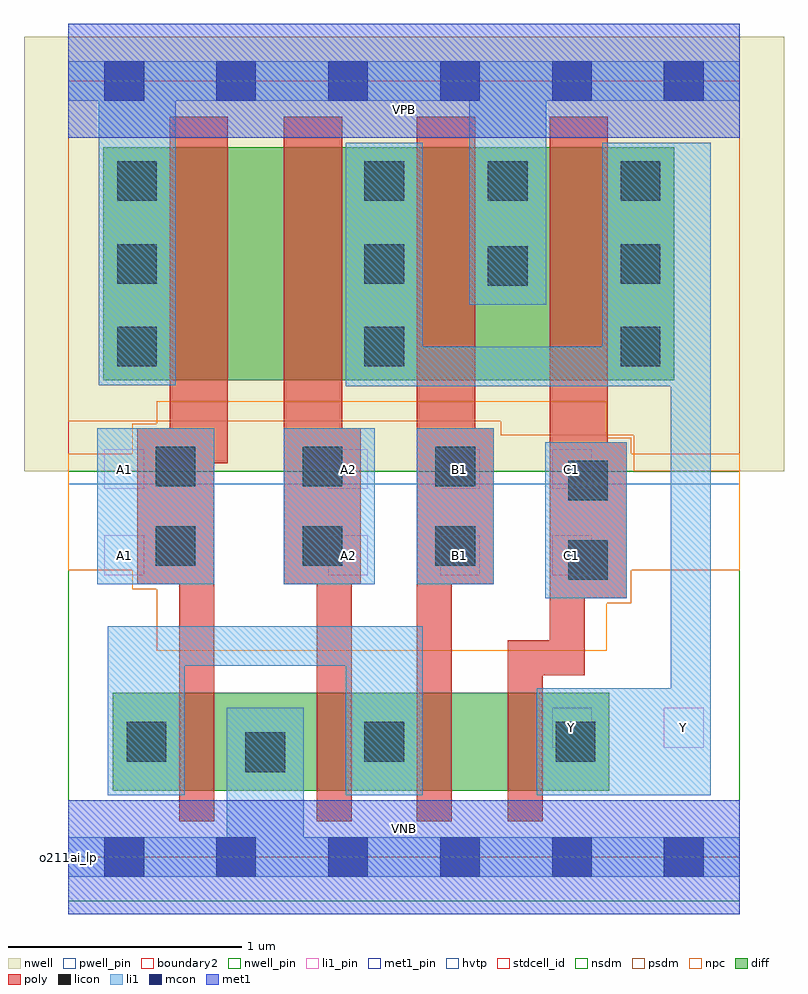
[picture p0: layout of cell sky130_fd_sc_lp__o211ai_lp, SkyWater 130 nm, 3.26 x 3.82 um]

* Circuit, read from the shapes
.subckt sky130_fd_sc_lp__o211ai_lp A1 A2 B1 C1 VGND VNB VPB VPWR Y
XM1 VGND A1 n1 VNB sky130_fd_pr__nfet_01v8 w=0.42 l=0.15
XM2 n1 A2 VGND VNB sky130_fd_pr__nfet_01v8 w=0.42 l=0.15
XM3 n2 B1 n1 VNB sky130_fd_pr__nfet_01v8 w=0.42 l=0.15
XM4 Y C1 n2 VNB sky130_fd_pr__nfet_01v8 w=0.42 l=0.15
XM5 n3 A1 VPWR VPB sky130_fd_pr__pfet_01v8_hvt w=1 l=0.25
XM6 Y A2 n3 VPB sky130_fd_pr__pfet_01v8_hvt w=1 l=0.25
XM7 VPWR B1 Y VPB sky130_fd_pr__pfet_01v8_hvt w=1 l=0.25
XM8 Y C1 VPWR VPB sky130_fd_pr__pfet_01v8_hvt w=1 l=0.25
.ends

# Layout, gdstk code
import gdstk
lib = gdstk.Library(unit=1e-6, precision=1e-09)
def R(c, l, rs):  # rectangles x0, y0, x1, y1
    for r in rs: c.add(gdstk.rectangle(r[:2], r[2:], *l))
def A(c, l, x, y, w, h, nx, ny, dx, dy):  # array of equal rectangles
    R(c, l, [(x+i*dx, y+j*dy, x+i*dx+w, y+j*dy+h) for i in range(nx) for j in range(ny)])
def P(c, l, *ps):  # polygons
    for p in ps: c.add(gdstk.Polygon(p, *l))
nwell_pin = (64, 16)
nwell = (64, 20)
diff = (65, 20)
poly = (66, 20)
licon = (66, 44)
li1_pin = (67, 16)
li1 = (67, 20)
mcon = (67, 44)
met1_pin = (68, 16)
met1 = (68, 20)
hvtp = (78, 44)
stdcell_id = (81, 4)
nsdm = (93, 44)
psdm = (94, 20)
npc = (95, 20)
pwell_pin = (122, 16)
boundary2 = (236, 0)

sky130_fd_sc_lp__o211ai_ = lib.new_cell('sky130_fd_sc_lp__o211ai_lp')
R(sky130_fd_sc_lp__o211ai_, nwell_pin, [(0,3.085,2.88,3.33)])
R(sky130_fd_sc_lp__o211ai_, nwell, [(-0.19,1.655,3.07,3.52)])
R(sky130_fd_sc_lp__o211ai_, diff, [(0.19,0.285,2.32,0.705), (0.15,2.045,2.6,3.045)])
P(sky130_fd_sc_lp__o211ai_, poly, [(0.685,3.175),(0.435,3.175),(0.435,1.84),(0.295,1.84),(0.295,1.17),(0.475,1.17),(0.475,0.155),(0.625,0.155),(0.625,1.69),(0.685,1.69)],
  [(1.255,1.84),(1.175,1.84),(1.175,3.175),(0.925,3.175),(0.925,1.17),(1.065,1.17),(1.065,0.155),(1.215,0.155),(1.215,1.17),(1.255,1.17)],
  [(1.825,1.84),(1.745,1.84),(1.745,3.175),(1.495,3.175),(1.495,0.155),(1.645,0.155),(1.645,1.17),(1.825,1.17)],
  [(2.395,1.78),(2.315,1.78),(2.315,3.175),(2.065,3.175),(2.065,0.93),(1.885,0.93),(1.885,0.155),(2.035,0.155),(2.035,0.78),(2.215,0.78),(2.215,1.11),(2.395,1.11)])
A(sky130_fd_sc_lp__o211ai_, licon, 0.21, 2.105, 0.17, 0.17, 1, 3, 0, 0.355)
A(sky130_fd_sc_lp__o211ai_, licon, 1.27, 2.105, 0.17, 0.17, 1, 3, 0, 0.355)
A(sky130_fd_sc_lp__o211ai_, licon, 2.37, 2.105, 0.17, 0.17, 1, 3, 0, 0.355)
R(sky130_fd_sc_lp__o211ai_, licon, [(0.76,0.365,0.93,0.535), (0.25,0.41,0.42,0.58), (1.27,0.41,1.44,0.58), (2.09,0.41,2.26,0.58), (2.145,1.19,2.315,1.36), (0.375,1.25,0.545,1.42), (1.005,1.25,1.175,1.42), (1.575,1.25,1.745,1.42), (2.145,1.53,2.315,1.7), (0.375,1.59,0.545,1.76), (1.005,1.59,1.175,1.76), (1.575,1.59,1.745,1.76), (1.8,2.45,1.97,2.62), (1.8,2.815,1.97,2.985)])
A(sky130_fd_sc_lp__o211ai_, li1_pin, 1.115, 1.21, 0.17, 0.17, 3, 2, 0.48, 0.37)
R(sky130_fd_sc_lp__o211ai_, li1_pin, [(2.075,0.47,2.245,0.64), (2.555,0.47,2.725,0.64), (0.155,1.21,0.325,1.38), (0.155,1.58,0.325,1.75)])
R(sky130_fd_sc_lp__o211ai_, li1, [(2.045,1.11,2.395,1.78), (0.125,1.17,0.625,1.84), (0.925,1.17,1.315,1.84), (1.495,1.17,1.825,1.84)])
P(sky130_fd_sc_lp__o211ai_, li1, [(0.13,2.025),(0.13,3.245),(0,3.245),(0,3.415),(2.88,3.415),(2.88,3.245),(2.05,3.245),(2.05,2.37),(1.72,2.37),(1.72,3.245),(0.46,3.245),(0.46,2.025)],
  [(0.68,0.085),(0.68,0.64),(1.01,0.64),(1.01,0.085),(2.88,0.085),(2.88,-0.085),(0,-0.085),(0,0.085)],
  [(2.29,2.19),(2.29,3.065),(2.755,3.065),(2.755,0.265),(2.01,0.265),(2.01,0.725),(2.585,0.725),(2.585,2.02),(1.19,2.02),(1.19,3.065),(1.52,3.065),(1.52,2.19)],
  [(1.19,0.265),(1.19,0.82),(0.5,0.82),(0.5,0.265),(0.17,0.265),(0.17,0.99),(1.52,0.99),(1.52,0.265)])
A(sky130_fd_sc_lp__o211ai_, mcon, 0.155, -0.085, 0.17, 0.17, 6, 2, 0.48, 3.33)
R(sky130_fd_sc_lp__o211ai_, met1_pin, [(0,0,2.88,0.245), (0,3.085,2.88,3.33)])
R(sky130_fd_sc_lp__o211ai_, met1, [(0,-0.245,2.88,0.245), (0,3.085,2.88,3.575)])
R(sky130_fd_sc_lp__o211ai_, hvtp, [(0,1.6,2.88,3.33)])
R(sky130_fd_sc_lp__o211ai_, stdcell_id, [(0,0,2.88,3.33)])
R(sky130_fd_sc_lp__o211ai_, nsdm, [(0,-0.19,2.88,1.655)])
P(sky130_fd_sc_lp__o211ai_, psdm, [(2.88,3.52),(0,3.52),(0,1.87),(1.855,1.87),(1.855,1.81),(2.425,1.81),(2.425,1.655),(2.88,1.655)])
P(sky130_fd_sc_lp__o211ai_, npc, [(2.88,1.73),(2.415,1.73),(2.415,1.8),(2.31,1.8),(2.31,1.955),(0.38,1.955),(0.38,1.86),(0.275,1.86),(0.275,1.73),(0,1.73),(0,1.23),(0.275,1.23),(0.275,1.15),(0.38,1.15),(0.38,0.885),(2.31,0.885),(2.31,1.09),(2.415,1.09),(2.415,1.23),(2.88,1.23)])
R(sky130_fd_sc_lp__o211ai_, pwell_pin, [(0,0,2.88,0.245)])
R(sky130_fd_sc_lp__o211ai_, boundary2, [(0,0,2.88,3.33)])
sky130_fd_sc_lp__o211ai_.add(gdstk.Label('VNB', (1.44,0.123), layer=64, texttype=59))
sky130_fd_sc_lp__o211ai_.add(gdstk.Label('VPB', (1.44,3.208), layer=64, texttype=5))
sky130_fd_sc_lp__o211ai_.add(gdstk.Label('o211ai_lp', (0,0), layer=83, texttype=44))
sky130_fd_sc_lp__o211ai_.add(gdstk.Label('VPWR', (1.44,3.208), layer=68, texttype=5))
sky130_fd_sc_lp__o211ai_.add(gdstk.Label('VGND', (1.44,0.123), layer=68, texttype=5))
sky130_fd_sc_lp__o211ai_.add(gdstk.Label('C1', (2.16,1.295), layer=67, texttype=5))
sky130_fd_sc_lp__o211ai_.add(gdstk.Label('C1', (2.16,1.665), layer=67, texttype=5))
sky130_fd_sc_lp__o211ai_.add(gdstk.Label('B1', (1.68,1.295), layer=67, texttype=5))
sky130_fd_sc_lp__o211ai_.add(gdstk.Label('B1', (1.68,1.665), layer=67, texttype=5))
sky130_fd_sc_lp__o211ai_.add(gdstk.Label('A2', (1.2,1.295), layer=67, texttype=5))
sky130_fd_sc_lp__o211ai_.add(gdstk.Label('A2', (1.2,1.665), layer=67, texttype=5))
sky130_fd_sc_lp__o211ai_.add(gdstk.Label('A1', (0.24,1.295), layer=67, texttype=5))
sky130_fd_sc_lp__o211ai_.add(gdstk.Label('A1', (0.24,1.665), layer=67, texttype=5))
sky130_fd_sc_lp__o211ai_.add(gdstk.Label('Y', (2.16,0.555), layer=67, texttype=5))
sky130_fd_sc_lp__o211ai_.add(gdstk.Label('Y', (2.64,0.555), layer=67, texttype=5))

lib.write_gds('sky130_fd_sc_lp__o211ai_lp.gds')
